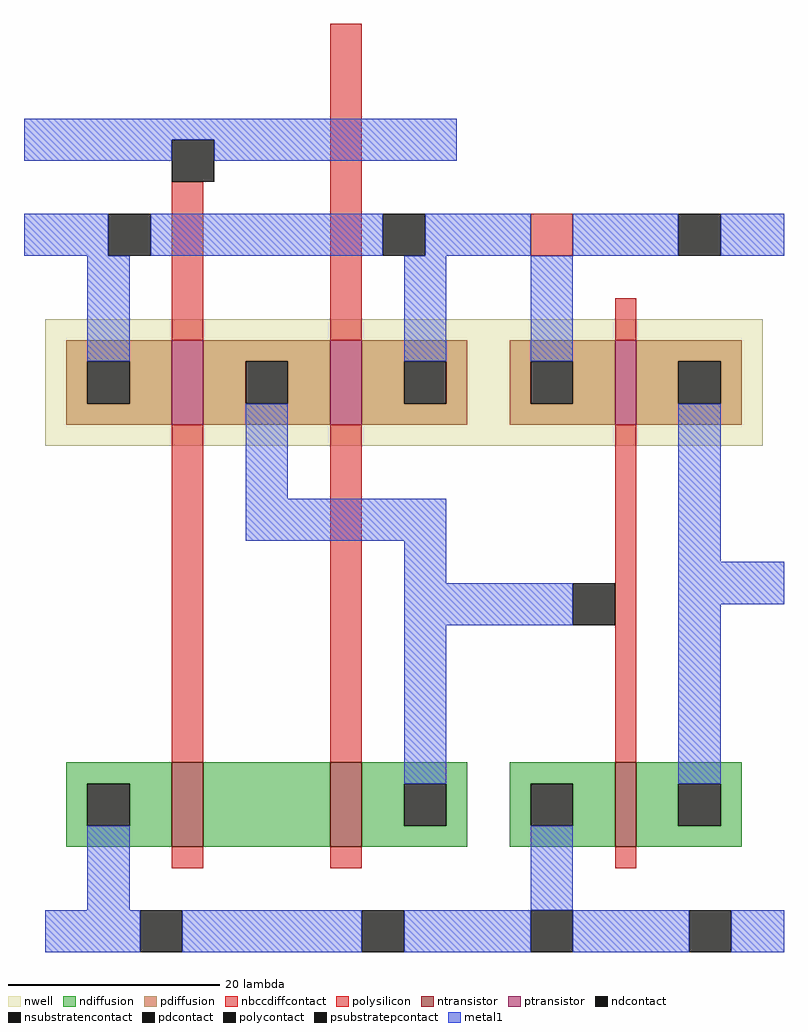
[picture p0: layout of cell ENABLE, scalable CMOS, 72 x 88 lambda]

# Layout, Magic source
magic
tech scmos
<< nwell >>
rect -29 -41 39 -29
<< polysilicon >>
rect -17 -31 -14 -16
rect -2 -31 1 -1
rect 25 -31 27 -27
rect -17 -71 -14 -39
rect -2 -71 1 -39
rect 25 -71 27 -39
rect -17 -81 -14 -79
rect -2 -81 1 -79
rect 25 -81 27 -79
<< ndiffusion >>
rect -27 -73 -17 -71
rect -27 -77 -25 -73
rect -21 -77 -17 -73
rect -27 -79 -17 -77
rect -14 -79 -2 -71
rect 1 -73 11 -71
rect 1 -77 5 -73
rect 9 -77 11 -73
rect 1 -79 11 -77
rect 15 -73 25 -71
rect 15 -77 17 -73
rect 21 -77 25 -73
rect 15 -79 25 -77
rect 27 -73 37 -71
rect 27 -77 31 -73
rect 35 -77 37 -73
rect 27 -79 37 -77
<< pdiffusion >>
rect -27 -33 -17 -31
rect -27 -37 -25 -33
rect -21 -37 -17 -33
rect -27 -39 -17 -37
rect -14 -33 -2 -31
rect -14 -37 -10 -33
rect -6 -37 -2 -33
rect -14 -39 -2 -37
rect 1 -33 11 -31
rect 1 -37 5 -33
rect 9 -37 11 -33
rect 1 -39 11 -37
rect 15 -33 25 -31
rect 15 -37 17 -33
rect 21 -37 25 -33
rect 15 -39 25 -37
rect 27 -33 37 -31
rect 27 -37 31 -33
rect 35 -37 37 -33
rect 27 -39 37 -37
<< metal1 >>
rect -31 -12 10 -10
rect -31 -14 -17 -12
rect -13 -14 10 -12
rect -31 -23 -23 -19
rect -19 -23 3 -19
rect 7 -23 17 -19
rect 21 -23 31 -19
rect 35 -23 41 -19
rect -25 -33 -21 -23
rect 5 -33 9 -23
rect 17 -33 21 -23
rect -10 -46 -6 -37
rect -10 -50 9 -46
rect 5 -54 9 -50
rect 31 -52 35 -37
rect 5 -58 21 -54
rect 31 -56 41 -52
rect 5 -73 9 -58
rect 31 -73 35 -56
rect -25 -85 -21 -77
rect 17 -85 21 -77
rect -29 -89 -20 -85
rect -16 -89 1 -85
rect 5 -89 17 -85
rect 21 -89 32 -85
rect 36 -89 41 -85
<< ntransistor >>
rect -17 -79 -14 -71
rect -2 -79 1 -71
rect 25 -79 27 -71
<< ptransistor >>
rect -17 -39 -14 -31
rect -2 -39 1 -31
rect 25 -39 27 -31
<< polycontact >>
rect -17 -16 -13 -12
rect 21 -58 25 -54
<< ndcontact >>
rect -25 -77 -21 -73
rect 5 -77 9 -73
rect 17 -77 21 -73
rect 31 -77 35 -73
<< pdcontact >>
rect -25 -37 -21 -33
rect -10 -37 -6 -33
rect 5 -37 9 -33
rect 17 -37 21 -33
rect 31 -37 35 -33
<< nbccdiffcontact >>
rect 17 -23 21 -19
<< psubstratepcontact >>
rect -20 -89 -16 -85
rect 1 -89 5 -85
rect 17 -89 21 -85
rect 32 -89 36 -85
<< nsubstratencontact >>
rect -23 -23 -19 -19
rect 3 -23 7 -19
rect 31 -23 35 -19
<< end >>
